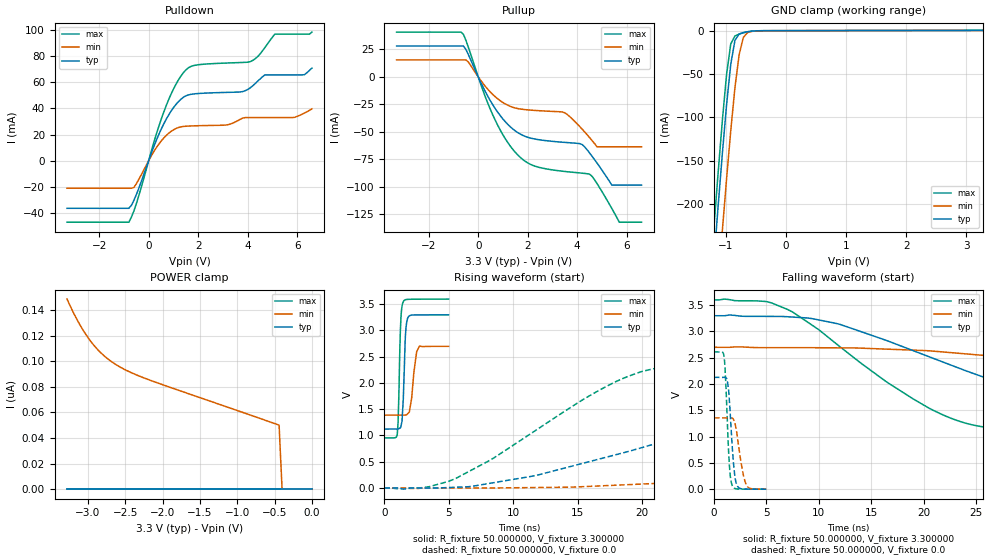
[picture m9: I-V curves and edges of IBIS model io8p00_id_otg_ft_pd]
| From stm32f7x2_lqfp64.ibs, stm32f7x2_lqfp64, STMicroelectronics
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|   Model io8p00_id_otg_ft_pd
[Model]  io8p00_id_otg_ft_pd
Model_type I/O
Polarity   Non-Inverting
Enable   Active-Low
Vinl =   0.990000V
Vinh =   2.310000V
Vmeas =  1.650000V
Cref =   50.000000pF
Rref =   100.000000M
Vref =   0.0V
C_comp   2.282200pF   2.214200pF   2.357400pF
[Temperature Range]   25.000000   0.125000k   -40.000000
[Pullup Reference]   3.300000V   2.700000V   3.600000V
[Pulldown Reference]   0.0V   0.0V   0.0V
[POWER Clamp Reference]   3.300000V   2.700000V   3.600000V
[GND Clamp Reference]   0.0V   0.0V   0.0V
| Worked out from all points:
|   slope of the pulldown table from 0 to 0.495 V, typ, clamps not added: 20.9 ohm
|   slope of the pullup table from 0 to 0.495 V, typ, clamps not added: 22.6 ohm
|   GND clamp passes 1 mA (typ) near -0.62 V on its own axis
|   rising waveform, R_fixture 50.000000, V_fixture 3.300000: 20-80 % time 190ps typ, 342ps min, 164ps max; typ from 1.12 V to 3.29 V
|   rising waveform, R_fixture 50.000000, V_fixture 0.0: 20-80 % time 19.8ns typ, 51.1ns min, 10.4ns max; typ from 0 V to 2.12 V
|   falling waveform, R_fixture 50.000000, V_fixture 3.300000: 20-80 % time 18.9ns typ, 39.6ns min, 11.4ns max; typ from 3.29 V to 1.12 V
|   falling waveform, R_fixture 50.000000, V_fixture 0.0: 20-80 % time 432ps typ, 632ps min, 342ps max; typ from 2.12 V to 0 V
[Pulldown]
|Voltage   I(typ)   I(min)   I(max)
-3.3V     -36.46mA   -21.1mA    -47.09mA
-800mV    -36.46mA   -21.1mA    -47.09mA
-600mV    -30.5mA    -20.54mA   -38.68mA
700mV     31.39mA    19.1mA     41.7mA
1.2V      45.14mA    25.37mA    61.74mA
1.6V      50.34mA    26.49mA    71.04mA
3.1V      52.26mA    27.25mA    74.74mA
4.1V      55.69mA    32.98mA    75.78mA
4.7V      65.7mA     32.98mA    86.67mA
5.1V      65.7mA     32.98mA    96.88mA
6.3V      65.85mA    36.49mA    96.88mA
6.6V      70.9mA     39.7mA     98.46mA
[Pullup]
|Voltage   I(typ)   I(min)   I(max)
-3.3V     28.03mA    15.42mA    40.69mA
-700mV    28.03mA    15.42mA    40.69mA
-400mV    20.31mA    13.47mA    26.93mA
600mV     -25.77mA   -16.23mA   -35.13mA
1.6V      -50.64mA   -28.8mA    -70.96mA
3.5V      -59.53mA   -32.65mA   -85.92mA
4.2V      -61.43mA   -47.48mA   -87.46mA
4.5V      -69.07mA   -55.13mA   -88.38mA
4.8V      -78.22mA   -63.5mA    -96.83mA
5.4V      -98.3mA    -63.5mA    -119.6mA
5.7V      -98.3mA    -63.5mA    -132mA
6.6V      -98.3mA    -63.5mA    -132mA
[GND_clamp]
|Voltage   I(typ)   I(min)   I(max)
-3.3V     -2.318A    -2.397A    -2.291A
-1.2V     -265.5mA   -356.1mA   -227.2mA
-1.13V    -202.7mA   -292.9mA   -164.2mA
-1.06V    -142.2mA   -231.2mA   -104.1mA
-990mV    -86mA      -171.6mA   -50.76mA
-920mV    -38.84mA   -115.5mA   -15.35mA
-850mV    -11.15mA   -65.63mA   -6.09mA
-780mV    -3.853mA   -27.45mA   -3.961mA
-710mV    -2.153mA   -7.739mA   -2.46mA
-640mV    -1.209mA   -2.169mA   -1.292mA
-570mV    -580.3uA   -846.3uA   -542.8uA
3.28V     342.5uA    239.2uA    398.5uA
[POWER_clamp]
|Voltage   I(typ)   I(min)   I(max)
-3.28V    0A         148.5nA    0A
-3.2V     0A         138.6nA    0A
-3.12V    0A         129.7nA    0A
-3.04V    0A         122nA      0A
-2.96V    0A         115.3nA    0A
-2.8V     0A         105.1nA    0A
-2.6V     0A         96.44nA    0A
-2.4V     0A         90.52nA    0A
-2.16V    0A         84.97nA    0A
-440mV    0A         50.04nA    0A
-400mV    0A         0A         0A
0V        0A         0A         0A
[Ramp]
| variable   typ   min   max
dV/dt_r  1.27434/19.74955n   0.81270/51.08570n   1.56402/10.36122n
dV/dt_f  1.30590/18.87704n   0.78546/39.67385n   1.58593/11.36713n
R_load = 50.000000
[Rising Waveform]
R_fixture= 50.000000
V_fixture= 3.300000
V_fixture_min= 2.700000
V_fixture_max= 3.600000
|time   V(typ)   V(min)   V(max)
0s        1.121V     1.386V     951.7mV
1.001ns   1.123V     1.387V     1.016V
1.071ns   1.125V     1.387V     1.287V
1.251ns   1.146V     1.387V     3.035V
1.461ns   1.657V     1.385V     3.541V
1.632ns   2.881V     1.388V     3.582V
1.862ns   3.257V     1.425V     3.59V
2.503ns   3.294V     2.584V     3.592V
2.723ns   3.294V     2.698V     3.593V
4.985ns   3.295V     2.695V     3.595V
[Rising Waveform]
R_fixture= 50.000000
V_fixture= 0.0
V_fixture_min= 0.0
V_fixture_max= 0.0
|time   V(typ)   V(min)   V(max)
0s        4.824nV    241.4nV    3.053nV
5.506ns   13.76mV    -139.7uV   177mV
11.51ns   226.5mV    8.227mV    1.059V
19.02ns   700.7mV    64.61mV    2.134V
27.53ns   1.282V     162.7mV    2.482V
38.04ns   1.834V     349.9mV    2.57V
55.06ns   2.051V     660.3mV    2.603V
89.59ns   2.113V     1.14V      2.607V
118.1ns   2.123V     1.295V     2.607V
249.2ns   2.124V     1.354V     2.607V
[Falling Waveform]
R_fixture= 50.000000
V_fixture= 3.300000
V_fixture_min= 2.700000
V_fixture_max= 3.600000
|time   V(typ)   V(min)   V(max)
0s        3.295V     2.695V     3.595V
5.506ns   3.282V     2.688V     3.538V
12.01ns   3.132V     2.684V     2.708V
22.02ns   2.402V     2.604V     1.396V
30.53ns   1.789V     2.446V     1.083V
36.04ns   1.497V     2.314V     1.037V
45.55ns   1.282V     2.082V     998.6mV
62.56ns   1.183V     1.732V     968.5mV
89.59ns   1.139V     1.508V     954.9mV
249.2ns   1.121V     1.386V     951.7mV
[Falling Waveform]
R_fixture= 50.000000
V_fixture= 0.0
V_fixture_min= 0.0
V_fixture_max= 0.0
|time   V(typ)   V(min)   V(max)
0s        2.124V     1.354V     2.607V
981ps     2.125V     1.354V     2.501V
1.151ns   2.115V     1.354V     1.938V
1.411ns   1.864V     1.355V     677.1mV
1.542ns   1.482V     1.356V     291.1mV
1.742ns   826.4mV    1.349V     73.99mV
2.152ns   97.4mV     1.115V     6.399mV
2.573ns   9.304mV    522.6mV    886.5uV
3.123ns   833.7uV    71.25mV    75.93uV
4.985ns   4.824nV    241.4nV    3.053nV
